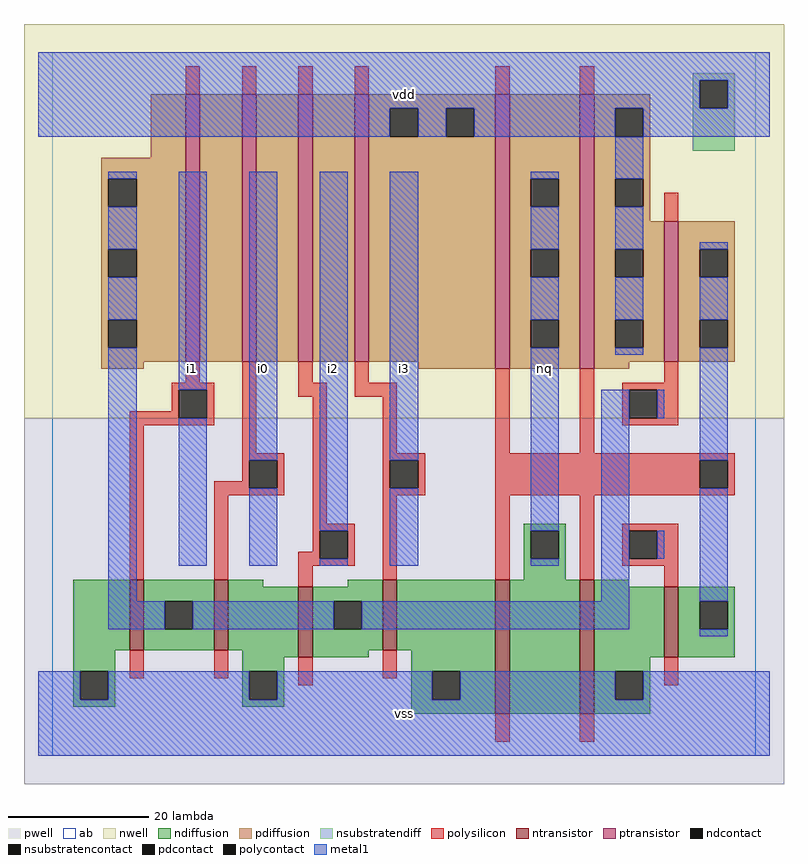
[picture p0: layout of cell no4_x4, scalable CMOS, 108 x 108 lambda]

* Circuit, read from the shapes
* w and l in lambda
.subckt no4_x4 i0 i1 i2 i3 nq vdd vss
M1 n1 i1 vss VSUBS nfet w=10 l=2
M2 vss i0 n1 VSUBS nfet w=10 l=2
M3 n1 i2 vss VSUBS nfet w=10 l=2
M4 vss i3 n1 VSUBS nfet w=10 l=2
M5 nq n2 vss VSUBS nfet w=19 l=2 m=2
M6 n2 n1 vss VSUBS nfet w=10 l=2
M7 n3 i1 n1 vdd pfet w=38 l=2
M8 n4 i0 n3 vdd pfet w=38 l=2
M9 n5 i2 n4 vdd pfet w=38 l=2
M10 vdd i3 n5 vdd pfet w=38 l=2
M11 nq n2 vdd vdd pfet w=39 l=2 m=2
M12 n2 n1 vdd vdd pfet w=20 l=2
.ends

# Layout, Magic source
magic
tech scmos
<< ab >>
rect 0 0 100 100
<< pwell >>
rect -4 -4 104 48
<< nwell >>
rect -4 48 104 104
<< polysilicon >>
rect 19 94 21 98
rect 27 94 29 98
rect 35 94 37 98
rect 43 94 45 98
rect 63 94 65 98
rect 75 94 77 98
rect 19 53 21 56
rect 17 52 23 53
rect 17 49 18 52
rect 11 48 18 49
rect 22 48 23 52
rect 11 47 23 48
rect 11 25 13 47
rect 27 43 29 56
rect 35 53 37 56
rect 43 53 45 56
rect 87 76 89 80
rect 35 51 39 53
rect 43 51 49 53
rect 27 42 33 43
rect 27 39 28 42
rect 23 38 28 39
rect 32 38 33 42
rect 23 37 33 38
rect 23 25 25 37
rect 37 33 39 51
rect 47 43 49 51
rect 63 43 65 55
rect 75 43 77 55
rect 87 53 89 56
rect 81 52 89 53
rect 81 48 82 52
rect 86 48 89 52
rect 81 47 89 48
rect 47 42 53 43
rect 47 38 48 42
rect 52 38 53 42
rect 47 37 53 38
rect 63 42 97 43
rect 63 38 92 42
rect 96 38 97 42
rect 63 37 97 38
rect 37 32 43 33
rect 37 29 38 32
rect 35 28 38 29
rect 42 28 43 32
rect 35 27 43 28
rect 35 24 37 27
rect 47 25 49 37
rect 63 25 65 37
rect 75 25 77 37
rect 81 32 89 33
rect 81 28 82 32
rect 86 28 89 32
rect 81 27 89 28
rect 11 11 13 15
rect 23 11 25 15
rect 35 10 37 14
rect 47 11 49 15
rect 87 24 89 27
rect 87 10 89 14
rect 63 2 65 6
rect 75 2 77 6
<< ndiffusion >>
rect 3 15 11 25
rect 13 22 23 25
rect 13 18 16 22
rect 20 18 23 22
rect 13 15 23 18
rect 25 24 30 25
rect 67 32 73 33
rect 67 28 68 32
rect 72 28 73 32
rect 67 25 73 28
rect 42 24 47 25
rect 25 15 35 24
rect 3 12 9 15
rect 3 8 4 12
rect 8 8 9 12
rect 27 14 35 15
rect 37 22 47 24
rect 37 18 40 22
rect 44 18 47 22
rect 37 15 47 18
rect 49 15 63 25
rect 37 14 45 15
rect 27 12 33 14
rect 3 7 9 8
rect 27 8 28 12
rect 32 8 33 12
rect 51 12 63 15
rect 27 7 33 8
rect 51 8 54 12
rect 58 8 63 12
rect 51 6 63 8
rect 65 6 75 25
rect 77 24 82 25
rect 77 14 87 24
rect 89 22 97 24
rect 89 18 92 22
rect 96 18 97 22
rect 89 14 97 18
rect 77 12 85 14
rect 77 8 80 12
rect 84 8 85 12
rect 77 6 85 8
<< pdiffusion >>
rect 14 85 19 94
rect 7 82 19 85
rect 7 78 8 82
rect 12 78 19 82
rect 7 72 19 78
rect 7 68 8 72
rect 12 68 19 72
rect 7 62 19 68
rect 7 58 8 62
rect 12 58 19 62
rect 7 56 19 58
rect 21 56 27 94
rect 29 56 35 94
rect 37 56 43 94
rect 45 92 63 94
rect 45 88 48 92
rect 52 88 56 92
rect 60 88 63 92
rect 45 56 63 88
rect 7 55 13 56
rect 52 55 63 56
rect 65 82 75 94
rect 65 78 68 82
rect 72 78 75 82
rect 65 72 75 78
rect 65 68 68 72
rect 72 68 75 72
rect 65 62 75 68
rect 65 58 68 62
rect 72 58 75 62
rect 65 55 75 58
rect 77 92 85 94
rect 77 88 80 92
rect 84 88 85 92
rect 77 82 85 88
rect 77 78 80 82
rect 84 78 85 82
rect 77 76 85 78
rect 77 72 87 76
rect 77 68 80 72
rect 84 68 87 72
rect 77 62 87 68
rect 77 58 80 62
rect 84 58 87 62
rect 77 56 87 58
rect 89 72 97 76
rect 89 68 92 72
rect 96 68 97 72
rect 89 62 97 68
rect 89 58 92 62
rect 96 58 97 62
rect 89 56 97 58
rect 77 55 82 56
<< metal1 >>
rect -2 96 102 100
rect -2 92 92 96
rect 96 92 102 96
rect -2 88 48 92
rect 52 88 56 92
rect 60 88 80 92
rect 84 88 102 92
rect 8 82 12 83
rect 8 72 12 78
rect 8 62 12 68
rect 8 22 12 58
rect 18 52 22 83
rect 18 27 22 48
rect 28 42 32 83
rect 28 27 32 38
rect 38 32 42 83
rect 38 27 42 28
rect 48 42 52 83
rect 48 27 52 38
rect 68 82 72 83
rect 68 72 72 78
rect 68 62 72 68
rect 68 32 72 58
rect 80 82 84 88
rect 80 72 84 78
rect 80 62 84 68
rect 80 57 84 58
rect 92 72 96 73
rect 92 62 96 68
rect 68 27 72 28
rect 78 22 82 52
rect 86 48 87 52
rect 92 42 96 58
rect 86 28 87 32
rect 8 18 16 22
rect 20 18 40 22
rect 44 18 82 22
rect 92 22 96 38
rect 92 17 96 18
rect -2 8 4 12
rect 8 8 28 12
rect 32 8 54 12
rect 58 8 80 12
rect 84 8 102 12
rect -2 0 102 8
<< ntransistor >>
rect 11 15 13 25
rect 23 15 25 25
rect 35 14 37 24
rect 47 15 49 25
rect 63 6 65 25
rect 75 6 77 25
rect 87 14 89 24
<< ptransistor >>
rect 19 56 21 94
rect 27 56 29 94
rect 35 56 37 94
rect 43 56 45 94
rect 63 55 65 94
rect 75 55 77 94
rect 87 56 89 76
<< polycontact >>
rect 18 48 22 52
rect 28 38 32 42
rect 82 48 86 52
rect 48 38 52 42
rect 92 38 96 42
rect 38 28 42 32
rect 82 28 86 32
<< ndcontact >>
rect 16 18 20 22
rect 68 28 72 32
rect 4 8 8 12
rect 40 18 44 22
rect 28 8 32 12
rect 54 8 58 12
rect 92 18 96 22
rect 80 8 84 12
<< pdcontact >>
rect 8 78 12 82
rect 8 68 12 72
rect 8 58 12 62
rect 48 88 52 92
rect 56 88 60 92
rect 68 78 72 82
rect 68 68 72 72
rect 68 58 72 62
rect 80 88 84 92
rect 80 78 84 82
rect 80 68 84 72
rect 80 58 84 62
rect 92 68 96 72
rect 92 58 96 62
<< nsubstratencontact >>
rect 92 92 96 96
<< nsubstratendiff >>
rect 91 96 97 97
rect 91 92 92 96
rect 96 92 97 96
rect 91 86 97 92
<< labels >>
rlabel metal1 20 55 20 55 6 i1
rlabel metal1 30 55 30 55 6 i0
rlabel metal1 40 55 40 55 6 i2
rlabel metal1 50 6 50 6 6 vss
rlabel metal1 50 55 50 55 6 i3
rlabel metal1 70 55 70 55 6 nq
rlabel metal1 50 94 50 94 6 vdd
<< end >>
